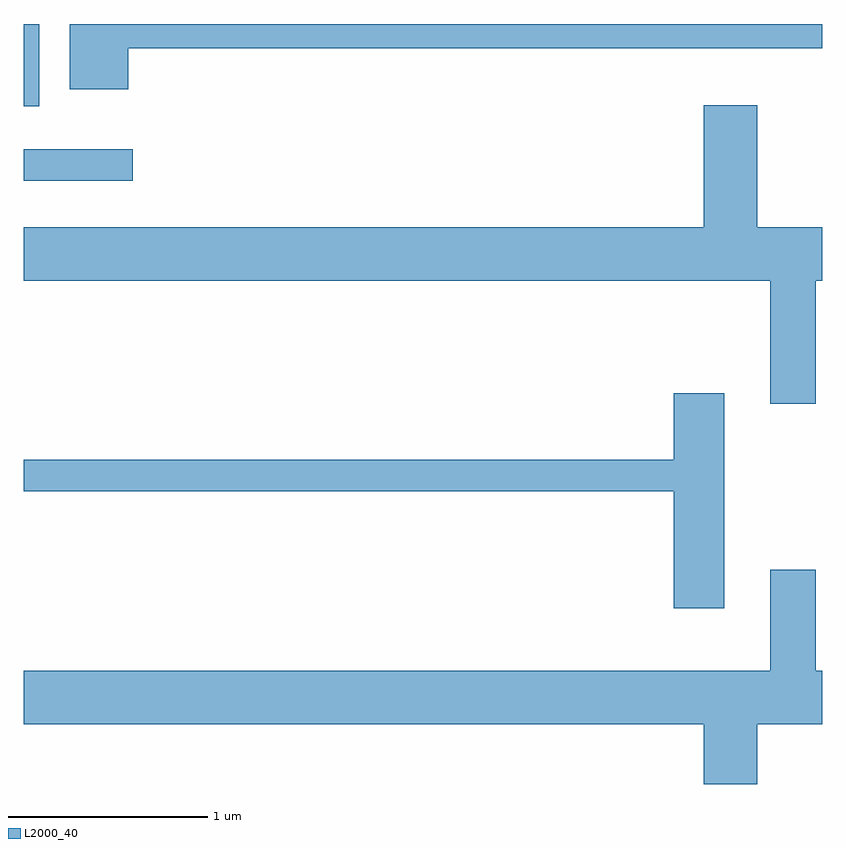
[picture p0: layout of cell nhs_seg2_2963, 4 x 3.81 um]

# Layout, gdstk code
import gdstk
lib = gdstk.Library(unit=1e-6, precision=1e-09)
def R(c, l, rs):  # rectangles x0, y0, x1, y1
    for r in rs: c.add(gdstk.rectangle(r[:2], r[2:], *l))
def P(c, l, *ps):  # polygons
    for p in ps: c.add(gdstk.Polygon(p, *l))
L2000_40 = (2000, 40)

nhs_seg2_2963 = lib.new_cell('nhs_seg2_2963')
R(nhs_seg2_2963, L2000_40, [(271.611,1071.016,272.158,1071.174), (271.611,1071.391,271.689,1071.802)])
P(nhs_seg2_2963, L2000_40, [(272.134,1071.681),(275.611,1071.681),(275.611,1071.802),(271.841,1071.802),(271.841,1071.476),(272.134,1071.476)],
  [(275.579,1070.516),(275.611,1070.516),(275.611,1070.784),(275.284,1070.784),(275.284,1071.394),(275.016,1071.394),(275.016,1070.784),(271.611,1070.784),(271.611,1070.516),(275.351,1070.516),(275.351,1069.901),(275.579,1069.901)],
  [(275.119,1069.954),(274.866,1069.954),(274.866,1069.619),(271.611,1069.619),(271.611,1069.461),(274.866,1069.461),(274.866,1068.876),(275.119,1068.876)],
  [(275.284,1068.296),(275.611,1068.296),(275.611,1068.564),(275.579,1068.564),(275.579,1069.069),(275.351,1069.069),(275.351,1068.564),(271.611,1068.564),(271.611,1068.296),(275.016,1068.296),(275.016,1067.996),(275.284,1067.996)])

lib.write_gds('nhs_seg2_2963.gds')
